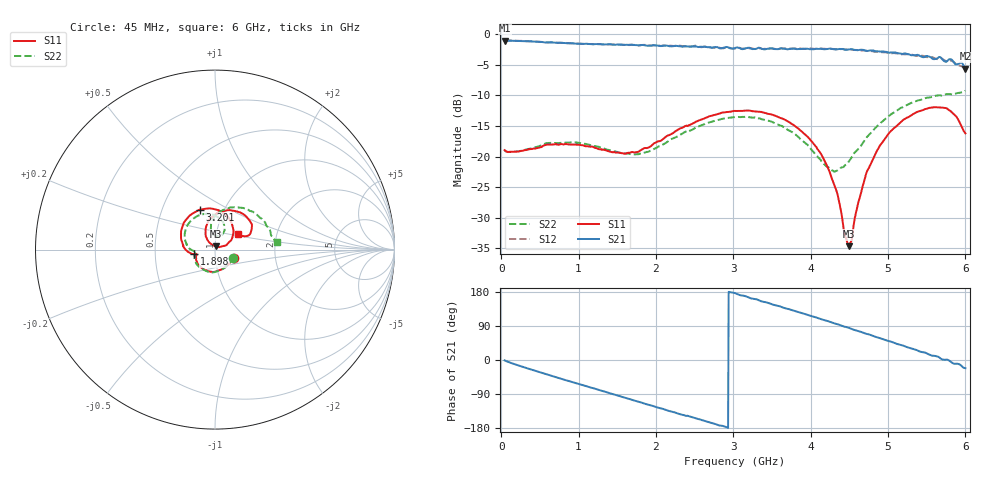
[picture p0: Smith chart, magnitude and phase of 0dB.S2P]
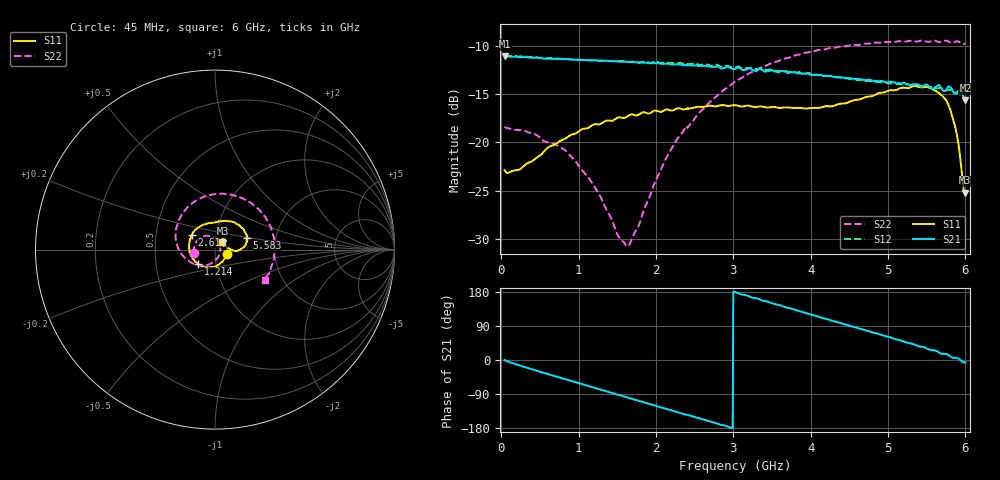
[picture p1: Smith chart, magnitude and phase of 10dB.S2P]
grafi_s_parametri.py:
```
# narise grafe na podlagi S parametrov iz datoteke .S2P HP - VNA utility
# pip install scikit-rf

from skrf import Network
import matplotlib.pyplot as plt
from matplotlib import style

ring_slot = Network('0dB.S2P')
ring_slot. frequency.unit = 'ghz'
ring_slot.plot_s_db(m=1,n=0, label = '0dB')

ring_slot = Network('10dB.S2P')
ring_slot. frequency.unit = 'ghz'
ring_slot.plot_s_db(m=1,n=0, label = '10dB')

ring_slot = Network('20dB.S2P')
ring_slot. frequency.unit = 'ghz'
ring_slot.plot_s_db(m=1,n=0, label = '20dB')

ring_slot = Network('30dB.S2P')
ring_slot. frequency.unit = 'ghz'
ring_slot.plot_s_db(m=1,n=0, label = '30dB')

plt.title('PE43711B')
plt.axis([0000000000,6000000000,-40,0])
plt.legend(loc='lower right')
plt.grid(visible=True, axis='both', which='both')
plt.xlabel("Frekvenca [GHz]")
plt.ylabel("S21 [dB]")
plt.show()
plt.show()
```
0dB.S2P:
! C:\Users\Aljaz\OneDrive - Univerza v Ljubljani\DOKTORAT\NOVI SA\Slabilec PE43711B\meritve\0dB.S2P
! Touchstone 1.1 file saved by VNA.EXE V1.65 (www.ke5fx.com/gpib/readme.htm)
! 2. 04. 2022 19:06:53
!  Source: HP8510C.07.14: Aug 26  1998
!  Min freq: 4.500000E+007 Hz
!  Max freq: 6.000000E+009 Hz
!  Points: 801
!  Params: S11 S21 S12 S22
# GHZ S DB R 50
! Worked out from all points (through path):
!   801 points, 45 MHz to 6 GHz, reference 50 ohm
!   highest |S21| = -1.03 dB at 52.44 MHz (marker M1); lowest = -5.6 dB at 6 GHz (marker M2)
!   group delay of S21, straight-line fit = 172 ps
!   lowest |S11| = -34.6 dB at 4.496 GHz (marker M3), VSWR 1.04, Z = 50.6 + j1.77 ohm
!   |S11| at or under -10 dB: start of sweep to end of sweep
!   |S22| runs from -22.5 to -9.2 dB; largest |S21 - S12| = 0.039
!   S11 on the Smith chart (normalised r, x): 45 MHz: 1.22, -0.11; 1.898 GHz: 0.79, -0.04; 3.201 GHz: 0.77, +0.36; 6 GHz: 1.28, +0.22
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0.045  -18.94 -23.9  -1.04 -0.9  -1.01 -0.9  -18.97 -24.4
0.05244375  -19.02 -22.9  -1.03 -1.7  -1.01 -1.7  -19.07 -23.6
0.968025  -18.06 -135.4  -1.53 -61.2  -1.48 -61.4  -17.68 -140.7
1.898494  -18.55 -167.3  -1.87 -117.5  -1.82 -117.4  -19.22 -175.5
3.0225  -12.52 126.2  -2.24 176.6  -2.33 176.1  -13.54 127.6
3.20115  -12.48 111.2  -2.18 165.0  -2.29 165.4  -13.54 114.0
4.049737  -18.08 37.9  -2.43 113.7  -2.39 113.2  -19.42 63.5
4.496363  -34.64 70.7  -2.48 84.8  -2.52 84.0  -20.74 98.1
5.0472  -15.72 102.7  -2.95 47.7  -3.10 48.1  -13.01 79.1
5.620369  -11.93 47.6  -4.02 10.1  -4.01 8.9  -10.05 31.6
6  -16.19 33.4  -5.61 -21.7  -5.71 -20.0  -9.23 6.6
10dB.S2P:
! C:\Users\Aljaz\OneDrive - Univerza v Ljubljani\DOKTORAT\NOVI SA\Slabilec PE43711B\meritve\10dB.S2P
! Touchstone 1.1 file saved by VNA.EXE V1.65 (www.ke5fx.com/gpib/readme.htm)
! 2. 04. 2022 19:18:26
!  Source: HP8510C.07.14: Aug 26  1998
!  Min freq: 4.500000E+007 Hz
!  Max freq: 6.000000E+009 Hz
!  Points: 801
!  Params: S11 S21 S12 S22
# GHZ S DB R 50
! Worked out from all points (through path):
!   801 points, 45 MHz to 6 GHz, reference 50 ohm
!   highest |S21| = -11.10 dB at 52.44 MHz (marker M1); lowest = -15.6 dB at 6 GHz (marker M2)
!   group delay of S21, straight-line fit = 166 ps
!   lowest |S11| = -25.2 dB at 5.993 GHz (marker M3), VSWR 1.12, Z = 54.3 + j3.82 ohm
!   |S11| at or under -10 dB: start of sweep to end of sweep
!   |S22| runs from -30.7 to -9.4 dB; largest |S21 - S12| = 0.013
!   S11 on the Smith chart (normalised r, x): 45 MHz: 1.14, -0.06; 1.214 GHz: 0.82, -0.14; 2.613 GHz: 0.76, +0.13; 5.583 GHz: 1.42, +0.18; 6 GHz: 1.08, +0.09
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0.045  -22.87 -22.3  -11.11 -0.2  -11.02 -0.3  -18.37 -170.4
0.05244375  -22.96 -21.5  -11.10 -1.1  -11.02 -1.1  -18.44 -172.7
1.213669  -18.12 -138.6  -11.49 -73.8  -11.55 -73.4  -24.67 84.2
1.645406  -17.22 -165.8  -11.66 -99.7  -11.68 -99.0  -30.68 -11.7
2.613094  -16.33 146.7  -12.08 -156.8  -11.91 -156.7  -16.53 -150.3
3.0225  -16.15 129.5  -12.39 179.3  -12.25 178.7  -13.73 177.5
4.39215  -15.97 81.8  -13.27 97.0  -13.30 96.4  -10.05 82.7
5.58315  -14.52 19.5  -14.45 26.1  -14.34 25.6  -9.46 0.9
5.82135  -17.05 0.2  -14.44 7.3  -14.61 9.7  -9.69 -16.6
5.992556  -25.21 39.7  -15.56 -6.5  -15.46 -3.5  -9.78 -30.4
6  -25.03 46.6  -15.63 -6.5  -15.53 -4.1  -9.76 -31.1
